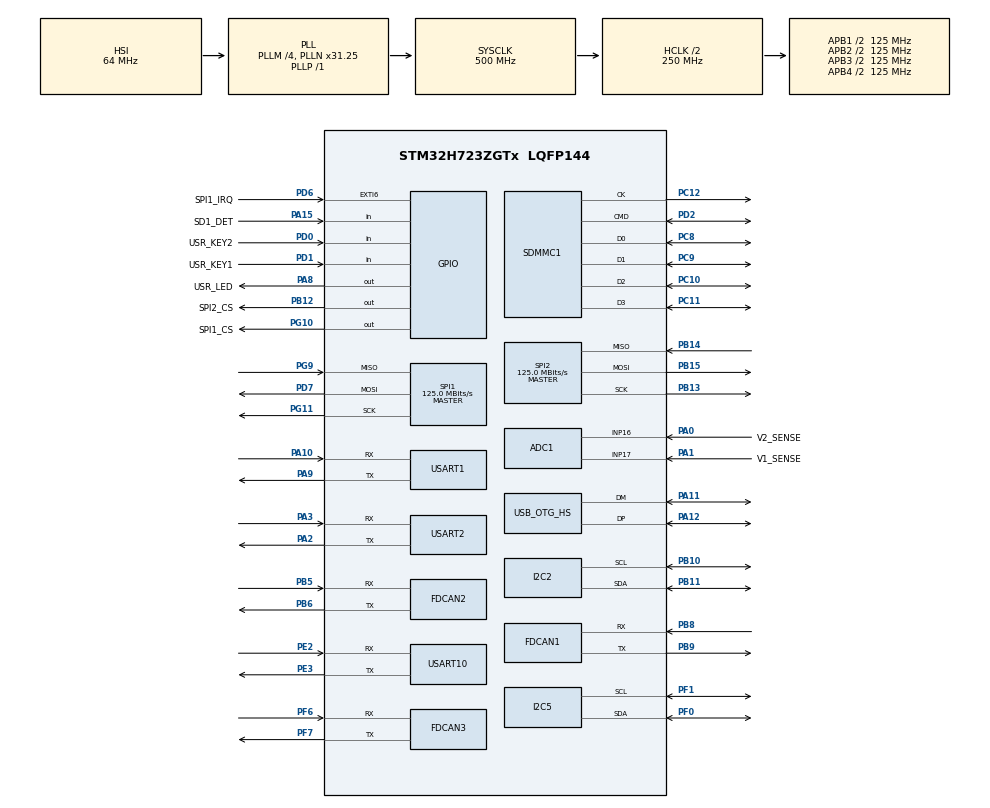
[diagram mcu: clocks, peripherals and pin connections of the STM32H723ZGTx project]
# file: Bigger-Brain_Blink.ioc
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ADC1.Channel-1\#ChannelRegularConversion=ADC_CHANNEL_17
ADC1.NbrOfConversionFlag=1
ADC1.OffsetNumber-1\#ChannelRegularConversion=ADC_OFFSET_NONE
ADC1.OffsetSignedSaturation-1\#ChannelRegularConversion=DISABLE
ADC1.Rank-1\#ChannelRegularConversion=1
ADC1.SamplingTime-1\#ChannelRegularConversion=ADC_SAMPLETIME_1CYCLE_5
ADC1.master=1
FATFS.BSP.number=1
FATFS0.BSP.STBoard=false
FATFS0.BSP.api=Unknown
FATFS0.BSP.instance=PA15(JTDI)
FATFS0.BSP.ip=GPIO
FATFS0.BSP.mode=Input
FATFS0.BSP.name=Detect_SDIO
FATFS0.BSP.solution=PA15(JTDI)
FDCAN1.CalculateBaudRateNominal=312500
FDCAN1.CalculateTimeBitNominal=3200
FDCAN1.CalculateTimeQuantumNominal=640.0
FDCAN2.CalculateBaudRateNominal=312500
FDCAN2.CalculateTimeBitNominal=3200
FDCAN2.CalculateTimeQuantumNominal=640.0
FDCAN3.CalculateBaudRateNominal=312500
FDCAN3.CalculateTimeBitNominal=3200
FDCAN3.CalculateTimeQuantumNominal=640.0
I2C2.Timing=0x20A0A3F6
I2C5.Timing=0x20A0A3F6
Mcu.Family=STM32H7
Mcu.Name=STM32H723ZGTx
Mcu.Package=LQFP144
NVIC.OTG_HS_IRQn=true\:0\:0\:false\:false\:true\:false\:true\:true
NVIC.PriorityGroup=NVIC_PRIORITYGROUP_4
PA0.GPIO_Label=V2_SENSE
PA0.Mode=IN16-Single-Ended
PA0.Signal=ADC1_INP16
PA1.GPIO_Label=V1_SENSE
PA1.Mode=IN17-Single-Ended
PA1.Signal=ADC1_INP17
PA10.Mode=Asynchronous
PA10.Signal=USART1_RX
PA11.Mode=Device_Only_FS
PA11.Signal=USB_OTG_HS_DM
PA12.Mode=Device_Only_FS
PA12.Signal=USB_OTG_HS_DP
PA13(JTMS/SWDIO).Mode=Serial_Wire
PA13(JTMS/SWDIO).Signal=DEBUG_JTMS-SWDIO
PA14(JTCK/SWCLK).Mode=Serial_Wire
PA14(JTCK/SWCLK).Signal=DEBUG_JTCK-SWCLK
PA15(JTDI).GPIO_Label=SD1_DET
PA15(JTDI).Signal=GPIO_Input
PA2.Mode=Asynchronous
PA2.Signal=USART2_TX
PA3.Mode=Asynchronous
PA3.Signal=USART2_RX
PA8.GPIO_Label=USR_LED
PA8.GPIO_ModeDefaultOutputPP=GPIO_MODE_OUTPUT_OD
PA8.GPIO_PuPd=GPIO_NOPULL
PA8.Signal=GPIO_Output
PA9.Mode=Asynchronous
PA9.Signal=USART1_TX
PB10.Mode=I2C
PB10.Signal=I2C2_SCL
PB11.Mode=I2C
PB11.Signal=I2C2_SDA
PB12.GPIO_Label=SPI2_CS
PB12.Signal=GPIO_Output
PB13.Mode=Full_Duplex_Master
PB13.Signal=SPI2_SCK
PB14.Mode=Full_Duplex_Master
PB14.Signal=SPI2_MISO
PB15.Mode=Full_Duplex_Master
PB15.Signal=SPI2_MOSI
PB5.Mode=FDCAN_Activate
PB5.Signal=FDCAN2_RX
PB6.Mode=FDCAN_Activate
PB6.Signal=FDCAN2_TX
PB8.Mode=FDCAN_Activate
PB8.Signal=FDCAN1_RX
PB9.Mode=FDCAN_Activate
PB9.Signal=FDCAN1_TX
PC10.Mode=SD_4_bits_Wide_bus
PC10.Signal=SDMMC1_D2
PC11.Mode=SD_4_bits_Wide_bus
PC11.Signal=SDMMC1_D3
PC12.Mode=SD_4_bits_Wide_bus
PC12.Signal=SDMMC1_CK
PC14-OSC32_IN.Mode=LSE-External-Oscillator
PC14-OSC32_IN.Signal=RCC_OSC32_IN
PC15-OSC32_OUT.Mode=LSE-External-Oscillator
PC15-OSC32_OUT.Signal=RCC_OSC32_OUT
PC8.Mode=SD_4_bits_Wide_bus
PC8.Signal=SDMMC1_D0
PC9.Mode=SD_4_bits_Wide_bus
PC9.Signal=SDMMC1_D1
PD0.GPIO_Label=USR_KEY2
PD0.GPIO_PuPd=GPIO_NOPULL
PD0.Signal=GPIO_Input
PD1.GPIO_Label=USR_KEY1
PD1.Signal=GPIO_Input
PD2.Mode=SD_4_bits_Wide_bus
PD2.Signal=SDMMC1_CMD
PD6.GPIO_Label=SPI1_IRQ
PD6.Signal=GPXTI6
PD7.Mode=Full_Duplex_Master
PD7.Signal=SPI1_MOSI
PE2.Mode=Asynchronous
PE2.Signal=USART10_RX
PE3.Mode=Asynchronous
PE3.Signal=USART10_TX
PF0.Mode=I2C
PF0.Signal=I2C5_SDA
PF1.Mode=I2C
PF1.Signal=I2C5_SCL
PF6.Mode=FDCAN_Activate
PF6.Signal=FDCAN3_RX
PF7.Mode=FDCAN_Activate
PF7.Signal=FDCAN3_TX
PG10.GPIO_Label=SPI1_CS
PG10.GPIO_PuPd=GPIO_PULLUP
PG10.GPIO_Speed=GPIO_SPEED_FREQ_HIGH
PG10.PinState=GPIO_PIN_SET
PG10.Signal=GPIO_Output
PG11.Mode=Full_Duplex_Master
PG11.Signal=SPI1_SCK
PG9.Mode=Full_Duplex_Master
PG9.Signal=SPI1_MISO
PH0-OSC_IN.Mode=HSE-External-Clock-Source
PH0-OSC_IN.Signal=RCC_OSC_IN
PWR.PVDLevel=PWR_PVDLEVEL_6
ProjectManager.HeapSize=0x200
ProjectManager.StackSize=0x400
ProjectManager.TargetToolchain=STM32CubeIDE
RCC.ADCFreq_Value=96000000
RCC.APB1Freq_Value=125000000
RCC.APB2Freq_Value=125000000
RCC.APB3Freq_Value=125000000
RCC.APB4Freq_Value=125000000
RCC.CortexFreq_Value=500000000
RCC.D1PPRE=RCC_APB3_DIV2
RCC.D2PPRE1=RCC_APB1_DIV2
RCC.D2PPRE2=RCC_APB2_DIV2
RCC.D3PPRE=RCC_APB4_DIV2
RCC.DATA_CACHE_ENABLE=1
RCC.DIVM1=4
RCC.DIVM2=4
RCC.DIVN1=31
RCC.DIVN2=12
RCC.DIVP1=1
RCC.FDCANCLockSelection=RCC_FDCANCLKSOURCE_HSE
RCC.HCLKFreq_Value=250000000
RCC.HPRE=RCC_HCLK_DIV2
RCC.HSE_VALUE=25000000
RCC.INSTRUCTION_CACHE_ENABLE=1
RCC.PLL1_VCI_Range-AdvancedSettings=RCC_PLL1VCIRANGE_1
RCC.PLL1_VCO_SEL-AdvancedSettings=RCC_PLL1VCOMEDIUM
RCC.PLL2FRACN=0
RCC.PLL2_VCI_Range-AdvancedSettings=RCC_PLL2VCIRANGE_1
RCC.PLL2_VCO_SEL-AdvancedSettings=RCC_PLL2VCOWIDE
RCC.PLL3FRACN=0
RCC.PLL3_VCO_SEL-AdvancedSettings=RCC_PLL3VCOMEDIUM
RCC.PLLFRACN=2048
RCC.PREFETCH_ENABLE=1
RCC.PWREXT_OverDrive=PWREXT_OverDrive_DESACTIVATED
RCC.PWR_Regulator_Voltage_Scale=PWR_REGULATOR_VOLTAGE_SCALE0
RCC.ProductRev=revV
RCC.RCC_TIM_PRescaler_Selection=RCC_TIMPRES_ACTIVATED
RCC.SYSCLKFreq_VALUE=500000000
RCC.SYSCLKSource=RCC_SYSCLKSOURCE_PLLCLK
RCC.SupplySource=PWR_LDO_SUPPLY
RCC.USBCLockSelection=RCC_USBCLKSOURCE_HSI48
RCC.USBFreq_Value=48000000
RCC.VDD_VALUE=3.3
SPI1.CalculateBaudRate=125.0 MBits/s
SPI1.Direction=SPI_DIRECTION_2LINES
SPI1.Mode=SPI_MODE_MASTER
SPI1.VirtualType=VM_MASTER
SPI2.CalculateBaudRate=125.0 MBits/s
SPI2.Direction=SPI_DIRECTION_2LINES
SPI2.Mode=SPI_MODE_MASTER
SPI2.VirtualType=VM_MASTER
USART1.VirtualMode-Asynchronous=VM_ASYNC
USART10.VirtualMode-Asynchronous=VM_ASYNC
USART2.VirtualMode-Asynchronous=VM_ASYNC
USB_DEVICE.CLASS_NAME_HS=CDC
USB_DEVICE.MANUFACTURER_STRING=Bigger-Brain
USB_DEVICE.VirtualMode=Cdc
USB_DEVICE.VirtualModeHS=Cdc_HS
USB_OTG_HS.VirtualMode-Device_Only_FS=Device_Only_FS
VP_FATFS_VS_SDIO.Mode=SDIO
VP_PWR_V_PVD_IN.Mode=Mode_PVD_Int
VP_USB_DEVICE_VS_USB_DEVICE_CDC_HS.Mode=CDC_HS
board=custom

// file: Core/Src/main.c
/* USER CODE BEGIN Header */
/**
  ******************************************************************************
  * @file           : main.c
  * @brief          : Main program body
  ******************************************************************************
  * @attention
  *
  * Copyright (c) 2024 STMicroelectronics.
  * All rights reserved.
  *
  * This software is licensed under terms that can be found in the LICENSE file
  * in the root directory of this software component.
  * If no LICENSE file comes with this software, it is provided AS-IS.
  *
  ******************************************************************************
  */
/* USER CODE END Header */
#include "main.h"
#include "fatfs.h"
#include "usb_device.h"

/* USER CODE BEGIN Includes */

#include "usbd_cdc_if.h"
#include "stdbool.h"

/* USER CODE END Includes */

ADC_HandleTypeDef hadc1;

FDCAN_HandleTypeDef hfdcan1;
FDCAN_HandleTypeDef hfdcan2;
FDCAN_HandleTypeDef hfdcan3;

I2C_HandleTypeDef hi2c2;
I2C_HandleTypeDef hi2c5;

SD_HandleTypeDef hsd1;

SPI_HandleTypeDef hspi1;
SPI_HandleTypeDef hspi2;

UART_HandleTypeDef huart1;
UART_HandleTypeDef huart2;
UART_HandleTypeDef huart10;

void SystemClock_Config(void);
void PeriphCommonClock_Config(void);
static void MX_GPIO_Init(void);
static void MX_FDCAN1_Init(void);
static void MX_FDCAN2_Init(void);
static void MX_FDCAN3_Init(void);
static void MX_SDMMC1_SD_Init(void);
static void MX_I2C2_Init(void);
static void MX_SPI2_Init(void);
static void MX_USART1_UART_Init(void);
static void MX_USART2_UART_Init(void);
static void MX_ADC1_Init(void);
static void MX_I2C5_Init(void);
static void MX_SPI1_Init(void);
static void MX_USART10_UART_Init(void);

int main(void)
{

  /* MCU Configuration--------------------------------------------------------*/

  /* Reset of all peripherals, Initializes the Flash interface and the Systick. */
  HAL_Init();

  /* Configure the system clock */
  SystemClock_Config();

/* Configure the peripherals common clocks */
  PeriphCommonClock_Config();

  /* Initialize all configured peripherals */
  MX_GPIO_Init();
  MX_FDCAN1_Init();
  MX_FDCAN2_Init();
  MX_FDCAN3_Init();
  MX_SDMMC1_SD_Init();
  MX_I2C2_Init();
  MX_SPI2_Init();
  MX_USART1_UART_Init();
  MX_USART2_UART_Init();
  MX_ADC1_Init();
  MX_I2C5_Init();
  MX_SPI1_Init();
  MX_USART10_UART_Init();
  MX_USB_DEVICE_Init();
  MX_FATFS_Init();
  /* USER CODE BEGIN 2 */

  char usb_tx_buf[1024];
  bool USR_KEY1 = 0;
  bool USR_KEY2 = 0;

  /* USER CODE END 2 */

  /* Infinite loop */
  while (1)
  {

    /* USER CODE BEGIN 3 */

	  USR_KEY1 = HAL_GPIO_ReadPin(USR_KEY1_GPIO_Port, USR_KEY1_Pin);
	  USR_KEY2 = HAL_GPIO_ReadPin(USR_KEY2_GPIO_Port, USR_KEY2_Pin);

	  if (USR_KEY1)
	  {
		  HAL_GPIO_TogglePin(USR_LED_GPIO_Port, USR_LED_Pin);
		  HAL_Delay(500);
	  }
	  if (USR_KEY2)
	  {
		  HAL_GPIO_TogglePin(USR_LED_GPIO_Port, USR_LED_Pin);
		  HAL_Delay(250);
	  }

	  if (!(USR_KEY1 && USR_KEY2))
	  {
		  HAL_Delay(250);
	  }
	  strcpy(usb_tx_buf, "hello world\n");
	  CDC_Transmit_HS((uint8_t*) usb_tx_buf, strlen(usb_tx_buf));

  }
  /* USER CODE END 3 */
}

void SystemClock_Config(void)
{
  RCC_OscInitTypeDef RCC_OscInitStruct = {0};
  RCC_ClkInitTypeDef RCC_ClkInitStruct = {0};

  /** Supply configuration update enable
  */
  HAL_PWREx_ConfigSupply(PWR_LDO_SUPPLY);

  /** Configure the main internal regulator output voltage
  */
  __HAL_PWR_VOLTAGESCALING_CONFIG(PWR_REGULATOR_VOLTAGE_SCALE0);

  while(!__HAL_PWR_GET_FLAG(PWR_FLAG_VOSRDY)) {}

  /** Initializes the RCC Oscillators according to the specified parameters
  * in the RCC_OscInitTypeDef structure.
  */
  RCC_OscInitStruct.OscillatorType = RCC_OSCILLATORTYPE_HSI48|RCC_OSCILLATORTYPE_HSI
                              |RCC_OSCILLATORTYPE_HSE;
  RCC_OscInitStruct.HSEState = RCC_HSE_BYPASS;
  RCC_OscInitStruct.HSIState = RCC_HSI_DIV1;
  RCC_OscInitStruct.HSICalibrationValue = 64;
  RCC_OscInitStruct.HSI48State = RCC_HSI48_ON;
  RCC_OscInitStruct.PLL.PLLState = RCC_PLL_ON;
  RCC_OscInitStruct.PLL.PLLSource = RCC_PLLSOURCE_HSI;
  RCC_OscInitStruct.PLL.PLLM = 4;
  RCC_OscInitStruct.PLL.PLLN = 31;
  RCC_OscInitStruct.PLL.PLLP = 1;
  RCC_OscInitStruct.PLL.PLLQ = 2;
  RCC_OscInitStruct.PLL.PLLR = 2;
  RCC_OscInitStruct.PLL.PLLRGE = RCC_PLL1VCIRANGE_3;
  RCC_OscInitStruct.PLL.PLLVCOSEL = RCC_PLL1VCOWIDE;
  RCC_OscInitStruct.PLL.PLLFRACN = 2048;
  if (HAL_RCC_OscConfig(&RCC_OscInitStruct) != HAL_OK)
  {
    Error_Handler();
  }

  /** Initializes the CPU, AHB and APB buses clocks
  */
  RCC_ClkInitStruct.ClockType = RCC_CLOCKTYPE_HCLK|RCC_CLOCKTYPE_SYSCLK
                              |RCC_CLOCKTYPE_PCLK1|RCC_CLOCKTYPE_PCLK2
                              |RCC_CLOCKTYPE_D3PCLK1|RCC_CLOCKTYPE_D1PCLK1;
  RCC_ClkInitStruct.SYSCLKSource = RCC_SYSCLKSOURCE_PLLCLK;
  RCC_ClkInitStruct.SYSCLKDivider = RCC_SYSCLK_DIV1;
  RCC_ClkInitStruct.AHBCLKDivider = RCC_HCLK_DIV2;
  RCC_ClkInitStruct.APB3CLKDivider = RCC_APB3_DIV2;
  RCC_ClkInitStruct.APB1CLKDivider = RCC_APB1_DIV2;
  RCC_ClkInitStruct.APB2CLKDivider = RCC_APB2_DIV2;
  RCC_ClkInitStruct.APB4CLKDivider = RCC_APB4_DIV2;

  if (HAL_RCC_ClockConfig(&RCC_ClkInitStruct, FLASH_LATENCY_3) != HAL_OK)
  {
    Error_Handler();
  }
}

void PeriphCommonClock_Config(void)
{
  RCC_PeriphCLKInitTypeDef PeriphClkInitStruct = {0};

  /** Initializes the peripherals clock
  */
  PeriphClkInitStruct.PeriphClockSelection = RCC_PERIPHCLK_TIM;
  PeriphClkInitStruct.TIMPresSelection = RCC_TIMPRES_ACTIVATED;

  if (HAL_RCCEx_PeriphCLKConfig(&PeriphClkInitStruct) != HAL_OK)
  {
    Error_Handler();
  }
}

static void MX_ADC1_Init(void)
{

  ADC_MultiModeTypeDef multimode = {0};
  ADC_ChannelConfTypeDef sConfig = {0};

  /** Common config
  */
  hadc1.Instance = ADC1;
  hadc1.Init.ClockPrescaler = ADC_CLOCK_ASYNC_DIV1;
  hadc1.Init.Resolution = ADC_RESOLUTION_16B;
  hadc1.Init.ScanConvMode = ADC_SCAN_DISABLE;
  hadc1.Init.EOCSelection = ADC_EOC_SINGLE_CONV;
  hadc1.Init.LowPowerAutoWait = DISABLE;
  hadc1.Init.ContinuousConvMode = DISABLE;
  hadc1.Init.NbrOfConversion = 1;
  hadc1.Init.DiscontinuousConvMode = DISABLE;
  hadc1.Init.ExternalTrigConv = ADC_SOFTWARE_START;
  hadc1.Init.ExternalTrigConvEdge = ADC_EXTERNALTRIGCONVEDGE_NONE;
  hadc1.Init.ConversionDataManagement = ADC_CONVERSIONDATA_DR;
  hadc1.Init.Overrun = ADC_OVR_DATA_PRESERVED;
  hadc1.Init.LeftBitShift = ADC_LEFTBITSHIFT_NONE;
  hadc1.Init.OversamplingMode = DISABLE;
  if (HAL_ADC_Init(&hadc1) != HAL_OK)
  {
    Error_Handler();
  }

  /** Configure the ADC multi-mode
  */
  multimode.Mode = ADC_MODE_INDEPENDENT;
  if (HAL_ADCEx_MultiModeConfigChannel(&hadc1, &multimode) != HAL_OK)
  {
    Error_Handler();
  }

  /** Configure Regular Channel
  */
  sConfig.Channel = ADC_CHANNEL_17;
  sConfig.Rank = ADC_REGULAR_RANK_1;
  sConfig.SamplingTime = ADC_SAMPLETIME_1CYCLE_5;
  sConfig.SingleDiff = ADC_SINGLE_ENDED;
  sConfig.OffsetNumber = ADC_OFFSET_NONE;
  sConfig.Offset = 0;
  sConfig.OffsetSignedSaturation = DISABLE;
  if (HAL_ADC_ConfigChannel(&hadc1, &sConfig) != HAL_OK)
  {
    Error_Handler();
  }

}

static void MX_FDCAN1_Init(void)
{

  hfdcan1.Instance = FDCAN1;
  hfdcan1.Init.FrameFormat = FDCAN_FRAME_CLASSIC;
  hfdcan1.Init.Mode = FDCAN_MODE_NORMAL;
  hfdcan1.Init.AutoRetransmission = DISABLE;
  hfdcan1.Init.TransmitPause = DISABLE;
  hfdcan1.Init.ProtocolException = DISABLE;
  hfdcan1.Init.NominalPrescaler = 16;
  hfdcan1.Init.NominalSyncJumpWidth = 1;
  hfdcan1.Init.NominalTimeSeg1 = 2;
  hfdcan1.Init.NominalTimeSeg2 = 2;
  hfdcan1.Init.DataPrescaler = 1;
  hfdcan1.Init.DataSyncJumpWidth = 1;
  hfdcan1.Init.DataTimeSeg1 = 1;
  hfdcan1.Init.DataTimeSeg2 = 1;
  hfdcan1.Init.MessageRAMOffset = 0;
  hfdcan1.Init.StdFiltersNbr = 0;
  hfdcan1.Init.ExtFiltersNbr = 0;
  hfdcan1.Init.RxFifo0ElmtsNbr = 0;
  hfdcan1.Init.RxFifo0ElmtSize = FDCAN_DATA_BYTES_8;
  hfdcan1.Init.RxFifo1ElmtsNbr = 0;
  hfdcan1.Init.RxFifo1ElmtSize = FDCAN_DATA_BYTES_8;
  hfdcan1.Init.RxBuffersNbr = 0;
  hfdcan1.Init.RxBufferSize = FDCAN_DATA_BYTES_8;
  hfdcan1.Init.TxEventsNbr = 0;
  hfdcan1.Init.TxBuffersNbr = 0;
  hfdcan1.Init.TxFifoQueueElmtsNbr = 0;
  hfdcan1.Init.TxFifoQueueMode = FDCAN_TX_FIFO_OPERATION;
  hfdcan1.Init.TxElmtSize = FDCAN_DATA_BYTES_8;
  if (HAL_FDCAN_Init(&hfdcan1) != HAL_OK)
  {
    Error_Handler();
  }

}

static void MX_FDCAN2_Init(void)
{

  hfdcan2.Instance = FDCAN2;
  hfdcan2.Init.FrameFormat = FDCAN_FRAME_CLASSIC;
  hfdcan2.Init.Mode = FDCAN_MODE_NORMAL;
  hfdcan2.Init.AutoRetransmission = DISABLE;
  hfdcan2.Init.TransmitPause = DISABLE;
  hfdcan2.Init.ProtocolException = DISABLE;
  hfdcan2.Init.NominalPrescaler = 16;
  hfdcan2.Init.NominalSyncJumpWidth = 1;
  hfdcan2.Init.NominalTimeSeg1 = 2;
  hfdcan2.Init.NominalTimeSeg2 = 2;
  hfdcan2.Init.DataPrescaler = 1;
  hfdcan2.Init.DataSyncJumpWidth = 1;
  hfdcan2.Init.DataTimeSeg1 = 1;
  hfdcan2.Init.DataTimeSeg2 = 1;
  hfdcan2.Init.MessageRAMOffset = 0;
  hfdcan2.Init.StdFiltersNbr = 0;
  hfdcan2.Init.ExtFiltersNbr = 0;
  hfdcan2.Init.RxFifo0ElmtsNbr = 0;
  hfdcan2.Init.RxFifo0ElmtSize = FDCAN_DATA_BYTES_8;
  hfdcan2.Init.RxFifo1ElmtsNbr = 0;
  hfdcan2.Init.RxFifo1ElmtSize = FDCAN_DATA_BYTES_8;
  hfdcan2.Init.RxBuffersNbr = 0;
  hfdcan2.Init.RxBufferSize = FDCAN_DATA_BYTES_8;
  hfdcan2.Init.TxEventsNbr = 0;
  hfdcan2.Init.TxBuffersNbr = 0;
  hfdcan2.Init.TxFifoQueueElmtsNbr = 0;
  hfdcan2.Init.TxFifoQueueMode = FDCAN_TX_FIFO_OPERATION;
  hfdcan2.Init.TxElmtSize = FDCAN_DATA_BYTES_8;
  if (HAL_FDCAN_Init(&hfdcan2) != HAL_OK)
  {
    Error_Handler();
  }

}

static void MX_FDCAN3_Init(void)
{

  hfdcan3.Instance = FDCAN3;
  hfdcan3.Init.FrameFormat = FDCAN_FRAME_CLASSIC;
  hfdcan3.Init.Mode = FDCAN_MODE_NORMAL;
  hfdcan3.Init.AutoRetransmission = DISABLE;
  hfdcan3.Init.TransmitPause = DISABLE;
  hfdcan3.Init.ProtocolException = DISABLE;
  hfdcan3.Init.NominalPrescaler = 16;
  hfdcan3.Init.NominalSyncJumpWidth = 1;
  hfdcan3.Init.NominalTimeSeg1 = 2;
  hfdcan3.Init.NominalTimeSeg2 = 2;
  hfdcan3.Init.DataPrescaler = 1;
  hfdcan3.Init.DataSyncJumpWidth = 1;
  hfdcan3.Init.DataTimeSeg1 = 1;
  hfdcan3.Init.DataTimeSeg2 = 1;
  hfdcan3.Init.MessageRAMOffset = 0;
  hfdcan3.Init.StdFiltersNbr = 0;
  hfdcan3.Init.ExtFiltersNbr = 0;
  hfdcan3.Init.RxFifo0ElmtsNbr = 0;
  hfdcan3.Init.RxFifo0ElmtSize = FDCAN_DATA_BYTES_8;
  hfdcan3.Init.RxFifo1ElmtsNbr = 0;
  hfdcan3.Init.RxFifo1ElmtSize = FDCAN_DATA_BYTES_8;
  hfdcan3.Init.RxBuffersNbr = 0;
  hfdcan3.Init.RxBufferSize = FDCAN_DATA_BYTES_8;
  hfdcan3.Init.TxEventsNbr = 0;
  hfdcan3.Init.TxBuffersNbr = 0;
  hfdcan3.Init.TxFifoQueueElmtsNbr = 0;
  hfdcan3.Init.TxFifoQueueMode = FDCAN_TX_FIFO_OPERATION;
  hfdcan3.Init.TxElmtSize = FDCAN_DATA_BYTES_8;
  if (HAL_FDCAN_Init(&hfdcan3) != HAL_OK)
  {
    Error_Handler();
  }

}

static void MX_I2C2_Init(void)
{

  hi2c2.Instance = I2C2;
  hi2c2.Init.Timing = 0x20A0A3F6;
  hi2c2.Init.OwnAddress1 = 0;
  hi2c2.Init.AddressingMode = I2C_ADDRESSINGMODE_7BIT;
  hi2c2.Init.DualAddressMode = I2C_DUALADDRESS_DISABLE;
  hi2c2.Init.OwnAddress2 = 0;
  hi2c2.Init.OwnAddress2Masks = I2C_OA2_NOMASK;
  hi2c2.Init.GeneralCallMode = I2C_GENERALCALL_DISABLE;
  hi2c2.Init.NoStretchMode = I2C_NOSTRETCH_DISABLE;
  if (HAL_I2C_Init(&hi2c2) != HAL_OK)
  {
    Error_Handler();
  }

  /** Configure Analogue filter
  */
  if (HAL_I2CEx_ConfigAnalogFilter(&hi2c2, I2C_ANALOGFILTER_ENABLE) != HAL_OK)
  {
    Error_Handler();
  }

  /** Configure Digital filter
  */
  if (HAL_I2CEx_ConfigDigitalFilter(&hi2c2, 0) != HAL_OK)
  {
    Error_Handler();
  }

}

static void MX_I2C5_Init(void)
{

  hi2c5.Instance = I2C5;
  hi2c5.Init.Timing = 0x20A0A3F6;
  hi2c5.Init.OwnAddress1 = 0;
  hi2c5.Init.AddressingMode = I2C_ADDRESSINGMODE_7BIT;
  hi2c5.Init.DualAddressMode = I2C_DUALADDRESS_DISABLE;
  hi2c5.Init.OwnAddress2 = 0;
  hi2c5.Init.OwnAddress2Masks = I2C_OA2_NOMASK;
  hi2c5.Init.GeneralCallMode = I2C_GENERALCALL_DISABLE;
  hi2c5.Init.NoStretchMode = I2C_NOSTRETCH_DISABLE;
  if (HAL_I2C_Init(&hi2c5) != HAL_OK)
  {
    Error_Handler();
  }

  /** Configure Analogue filter
  */
  if (HAL_I2CEx_ConfigAnalogFilter(&hi2c5, I2C_ANALOGFILTER_ENABLE) != HAL_OK)
  {
    Error_Handler();
  }

  /** Configure Digital filter
  */
  if (HAL_I2CEx_ConfigDigitalFilter(&hi2c5, 0) != HAL_OK)
  {
    Error_Handler();
  }

}

static void MX_SDMMC1_SD_Init(void)
{

  hsd1.Instance = SDMMC1;
  hsd1.Init.ClockEdge = SDMMC_CLOCK_EDGE_RISING;
  hsd1.Init.ClockPowerSave = SDMMC_CLOCK_POWER_SAVE_DISABLE;
  hsd1.Init.BusWide = SDMMC_BUS_WIDE_4B;
  hsd1.Init.HardwareFlowControl = SDMMC_HARDWARE_FLOW_CONTROL_DISABLE;
  hsd1.Init.ClockDiv = 0;

}

static void MX_SPI1_Init(void)
{

  /* SPI1 parameter configuration*/
  hspi1.Instance = SPI1;
  hspi1.Init.Mode = SPI_MODE_MASTER;
  hspi1.Init.Direction = SPI_DIRECTION_2LINES;
  hspi1.Init.DataSize = SPI_DATASIZE_4BIT;
  hspi1.Init.CLKPolarity = SPI_POLARITY_LOW;
  hspi1.Init.CLKPhase = SPI_PHASE_1EDGE;
  hspi1.Init.NSS = SPI_NSS_SOFT;
  hspi1.Init.BaudRatePrescaler = SPI_BAUDRATEPRESCALER_2;
  hspi1.Init.FirstBit = SPI_FIRSTBIT_MSB;
  hspi1.Init.TIMode = SPI_TIMODE_DISABLE;
  hspi1.Init.CRCCalculation = SPI_CRCCALCULATION_DISABLE;
  hspi1.Init.CRCPolynomial = 0x0;
  hspi1.Init.NSSPMode = SPI_NSS_PULSE_ENABLE;
  hspi1.Init.NSSPolarity = SPI_NSS_POLARITY_LOW;
  hspi1.Init.FifoThreshold = SPI_FIFO_THRESHOLD_01DATA;
  hspi1.Init.TxCRCInitializationPattern = SPI_CRC_INITIALIZATION_ALL_ZERO_PATTERN;
  hspi1.Init.RxCRCInitializationPattern = SPI_CRC_INITIALIZATION_ALL_ZERO_PATTERN;
  hspi1.Init.MasterSSIdleness = SPI_MASTER_SS_IDLENESS_00CYCLE;
  hspi1.Init.MasterInterDataIdleness = SPI_MASTER_INTERDATA_IDLENESS_00CYCLE;
  hspi1.Init.MasterReceiverAutoSusp = SPI_MASTER_RX_AUTOSUSP_DISABLE;
  hspi1.Init.MasterKeepIOState = SPI_MASTER_KEEP_IO_STATE_DISABLE;
  hspi1.Init.IOSwap = SPI_IO_SWAP_DISABLE;
  if (HAL_SPI_Init(&hspi1) != HAL_OK)
  {
    Error_Handler();
  }

}

static void MX_SPI2_Init(void)
{

  /* SPI2 parameter configuration*/
  hspi2.Instance = SPI2;
  hspi2.Init.Mode = SPI_MODE_MASTER;
  hspi2.Init.Direction = SPI_DIRECTION_2LINES;
  hspi2.Init.DataSize = SPI_DATASIZE_4BIT;
  hspi2.Init.CLKPolarity = SPI_POLARITY_LOW;
  hspi2.Init.CLKPhase = SPI_PHASE_1EDGE;
  hspi2.Init.NSS = SPI_NSS_SOFT;
  hspi2.Init.BaudRatePrescaler = SPI_BAUDRATEPRESCALER_2;
  hspi2.Init.FirstBit = SPI_FIRSTBIT_MSB;
  hspi2.Init.TIMode = SPI_TIMODE_DISABLE;
  hspi2.Init.CRCCalculation = SPI_CRCCALCULATION_DISABLE;
  hspi2.Init.CRCPolynomial = 0x0;
  hspi2.Init.NSSPMode = SPI_NSS_PULSE_ENABLE;
  hspi2.Init.NSSPolarity = SPI_NSS_POLARITY_LOW;
  hspi2.Init.FifoThreshold = SPI_FIFO_THRESHOLD_01DATA;
  hspi2.Init.TxCRCInitializationPattern = SPI_CRC_INITIALIZATION_ALL_ZERO_PATTERN;
  hspi2.Init.RxCRCInitializationPattern = SPI_CRC_INITIALIZATION_ALL_ZERO_PATTERN;
  hspi2.Init.MasterSSIdleness = SPI_MASTER_SS_IDLENESS_00CYCLE;
  hspi2.Init.MasterInterDataIdleness = SPI_MASTER_INTERDATA_IDLENESS_00CYCLE;
  hspi2.Init.MasterReceiverAutoSusp = SPI_MASTER_RX_AUTOSUSP_DISABLE;
  hspi2.Init.MasterKeepIOState = SPI_MASTER_KEEP_IO_STATE_DISABLE;
  hspi2.Init.IOSwap = SPI_IO_SWAP_DISABLE;
  if (HAL_SPI_Init(&hspi2) != HAL_OK)
  {
    Error_Handler();
  }

}

static void MX_USART1_UART_Init(void)
{

  huart1.Instance = USART1;
  huart1.Init.BaudRate = 115200;
  huart1.Init.WordLength = UART_WORDLENGTH_8B;
  huart1.Init.StopBits = UART_STOPBITS_1;
  huart1.Init.Parity = UART_PARITY_NONE;
  huart1.Init.Mode = UART_MODE_TX_RX;
  huart1.Init.HwFlowCtl = UART_HWCONTROL_NONE;
  huart1.Init.OverSampling = UART_OVERSAMPLING_16;
  huart1.Init.OneBitSampling = UART_ONE_BIT_SAMPLE_DISABLE;
  huart1.Init.ClockPrescaler = UART_PRESCALER_DIV1;
  huart1.AdvancedInit.AdvFeatureInit = UART_ADVFEATURE_NO_INIT;
  if (HAL_UART_Init(&huart1) != HAL_OK)
  {
    Error_Handler();
  }
  if (HAL_UARTEx_SetTxFifoThreshold(&huart1, UART_TXFIFO_THRESHOLD_1_8) != HAL_OK)
  {
    Error_Handler();
  }
  if (HAL_UARTEx_SetRxFifoThreshold(&huart1, UART_RXFIFO_THRESHOLD_1_8) != HAL_OK)
  {
    Error_Handler();
  }
  if (HAL_UARTEx_DisableFifoMode(&huart1) != HAL_OK)
  {
    Error_Handler();
  }

}

static void MX_USART2_UART_Init(void)
{

  huart2.Instance = USART2;
  huart2.Init.BaudRate = 115200;
  huart2.Init.WordLength = UART_WORDLENGTH_8B;
  huart2.Init.StopBits = UART_STOPBITS_1;
  huart2.Init.Parity = UART_PARITY_NONE;
  huart2.Init.Mode = UART_MODE_TX_RX;
  huart2.Init.HwFlowCtl = UART_HWCONTROL_NONE;
  huart2.Init.OverSampling = UART_OVERSAMPLING_16;
  huart2.Init.OneBitSampling = UART_ONE_BIT_SAMPLE_DISABLE;
  huart2.Init.ClockPrescaler = UART_PRESCALER_DIV1;
  huart2.AdvancedInit.AdvFeatureInit = UART_ADVFEATURE_NO_INIT;
  if (HAL_UART_Init(&huart2) != HAL_OK)
  {
    Error_Handler();
  }
  if (HAL_UARTEx_SetTxFifoThreshold(&huart2, UART_TXFIFO_THRESHOLD_1_8) != HAL_OK)
  {
    Error_Handler();
  }
  if (HAL_UARTEx_SetRxFifoThreshold(&huart2, UART_RXFIFO_THRESHOLD_1_8) != HAL_OK)
  {
    Error_Handler();
  }
  if (HAL_UARTEx_DisableFifoMode(&huart2) != HAL_OK)
  {
    Error_Handler();
  }

}

static void MX_USART10_UART_Init(void)
{

  huart10.Instance = USART10;
  huart10.Init.BaudRate = 115200;
  huart10.Init.WordLength = UART_WORDLENGTH_8B;
  huart10.Init.StopBits = UART_STOPBITS_1;
  huart10.Init.Parity = UART_PARITY_NONE;
  huart10.Init.Mode = UART_MODE_TX_RX;
  huart10.Init.HwFlowCtl = UART_HWCONTROL_NONE;
  huart10.Init.OverSampling = UART_OVERSAMPLING_16;
  huart10.Init.OneBitSampling = UART_ONE_BIT_SAMPLE_DISABLE;
  huart10.Init.ClockPrescaler = UART_PRESCALER_DIV1;
  huart10.AdvancedInit.AdvFeatureInit = UART_ADVFEATURE_NO_INIT;
  if (HAL_UART_Init(&huart10) != HAL_OK)
  {
    Error_Handler();
  }
  if (HAL_UARTEx_SetTxFifoThreshold(&huart10, UART_TXFIFO_THRESHOLD_1_8) != HAL_OK)
  {
    Error_Handler();
  }
  if (HAL_UARTEx_SetRxFifoThreshold(&huart10, UART_RXFIFO_THRESHOLD_1_8) != HAL_OK)
  {
    Error_Handler();
  }
  if (HAL_UARTEx_DisableFifoMode(&huart10) != HAL_OK)
  {
    Error_Handler();
  }

}

static void MX_GPIO_Init(void)
{
  GPIO_InitTypeDef GPIO_InitStruct = {0};

  /* GPIO Ports Clock Enable */
  __HAL_RCC_GPIOE_CLK_ENABLE();
  __HAL_RCC_GPIOC_CLK_ENABLE();
  __HAL_RCC_GPIOF_CLK_ENABLE();
  __HAL_RCC_GPIOH_CLK_ENABLE();
  __HAL_RCC_GPIOA_CLK_ENABLE();
  __HAL_RCC_GPIOB_CLK_ENABLE();
  __HAL_RCC_GPIOD_CLK_ENABLE();
  __HAL_RCC_GPIOG_CLK_ENABLE();

  /*Configure GPIO pin Output Level */
  HAL_GPIO_WritePin(SPI2_CS_GPIO_Port, SPI2_CS_Pin, GPIO_PIN_RESET);

  /*Configure GPIO pin Output Level */
  HAL_GPIO_WritePin(USR_LED_GPIO_Port, USR_LED_Pin, GPIO_PIN_RESET);

  /*Configure GPIO pin Output Level */
  HAL_GPIO_WritePin(SPI1_CS_GPIO_Port, SPI1_CS_Pin, GPIO_PIN_SET);

  /*Configure GPIO pin : SPI2_CS_Pin */
  GPIO_InitStruct.Pin = SPI2_CS_Pin;
  GPIO_InitStruct.Mode = GPIO_MODE_OUTPUT_PP;
  GPIO_InitStruct.Pull = GPIO_NOPULL;
  GPIO_InitStruct.Speed = GPIO_SPEED_FREQ_LOW;
  HAL_GPIO_Init(SPI2_CS_GPIO_Port, &GPIO_InitStruct);

  /*Configure GPIO pin : USR_LED_Pin */
  GPIO_InitStruct.Pin = USR_LED_Pin;
  GPIO_InitStruct.Mode = GPIO_MODE_OUTPUT_OD;
  GPIO_InitStruct.Pull = GPIO_NOPULL;
  GPIO_InitStruct.Speed = GPIO_SPEED_FREQ_LOW;
  HAL_GPIO_Init(USR_LED_GPIO_Port, &GPIO_InitStruct);

  /*Configure GPIO pin : SD1_DET_Pin */
  GPIO_InitStruct.Pin = SD1_DET_Pin;
  GPIO_InitStruct.Mode = GPIO_MODE_INPUT;
  GPIO_InitStruct.Pull = GPIO_NOPULL;
  HAL_GPIO_Init(SD1_DET_GPIO_Port, &GPIO_InitStruct);

  /*Configure GPIO pins : USR_KEY2_Pin USR_KEY1_Pin */
  GPIO_InitStruct.Pin = USR_KEY2_Pin|USR_KEY1_Pin;
  GPIO_InitStruct.Mode = GPIO_MODE_INPUT;
  GPIO_InitStruct.Pull = GPIO_NOPULL;
  HAL_GPIO_Init(GPIOD, &GPIO_InitStruct);

  /*Configure GPIO pin : SPI1_IRQ_Pin */
  GPIO_InitStruct.Pin = SPI1_IRQ_Pin;
  GPIO_InitStruct.Mode = GPIO_MODE_IT_RISING;
  GPIO_InitStruct.Pull = GPIO_NOPULL;
  HAL_GPIO_Init(SPI1_IRQ_GPIO_Port, &GPIO_InitStruct);

  /*Configure GPIO pin : SPI1_CS_Pin */
  GPIO_InitStruct.Pin = SPI1_CS_Pin;
  GPIO_InitStruct.Mode = GPIO_MODE_OUTPUT_PP;
  GPIO_InitStruct.Pull = GPIO_PULLUP;
  GPIO_InitStruct.Speed = GPIO_SPEED_FREQ_HIGH;
  HAL_GPIO_Init(SPI1_CS_GPIO_Port, &GPIO_InitStruct);

}

void Error_Handler(void)
{
  __disable_irq();
  while (1)
  {
  }
}
